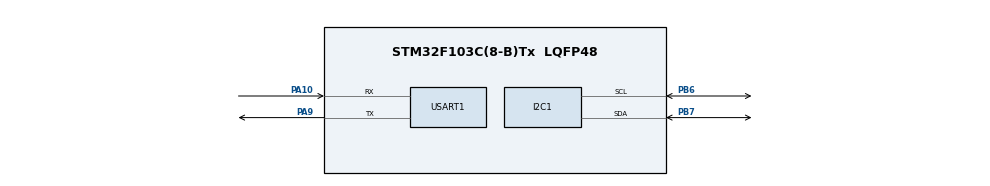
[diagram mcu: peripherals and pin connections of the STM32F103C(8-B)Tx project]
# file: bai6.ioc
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Mcu.Family=STM32F1
Mcu.Name=STM32F103C(8-B)Tx
Mcu.Package=LQFP48
NVIC.PriorityGroup=NVIC_PRIORITYGROUP_4
PA10.Mode=Asynchronous
PA10.Signal=USART1_RX
PA13.Mode=Serial_Wire
PA13.Signal=SYS_JTMS-SWDIO
PA14.Mode=Serial_Wire
PA14.Signal=SYS_JTCK-SWCLK
PA9.Mode=Asynchronous
PA9.Signal=USART1_TX
PB6.Mode=I2C
PB6.Signal=I2C1_SCL
PB7.Mode=I2C
PB7.Signal=I2C1_SDA
ProjectManager.HeapSize=0x200
ProjectManager.StackSize=0x400
ProjectManager.TargetToolchain=MDK-ARM V5
RCC.APB1Freq_Value=8000000
RCC.APB2Freq_Value=8000000
USART1.VirtualMode=VM_ASYNC
board=custom

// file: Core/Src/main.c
/* USER CODE BEGIN Header */
/**
  ******************************************************************************
  * @file           : main.c
  * @brief          : Main program body
  ******************************************************************************
  * @attention
  *
  * <h2><center>&copy; Copyright (c) 2024 STMicroelectronics.
  * All rights reserved.</center></h2>
  *
  * This software component is licensed by ST under BSD 3-Clause license,
  * the "License"; You may not use this file except in compliance with the
  * License. You may obtain a copy of the License at:
  *                        opensource.org/licenses/BSD-3-Clause
  *
  ******************************************************************************
  */
/* USER CODE END Header */
#include "main.h"
#define BH1750_ADDRESS 0x23 << 1  // Ð?a ch? BH1750 (m?c d?nh ADDR = LOW)
#define BH1750_POWER_ON 0x01
#define BH1750_RESET 0x07
#define BH1750_ONE_TIME_HRES_MODE    0x20

I2C_HandleTypeDef hi2c1;

UART_HandleTypeDef huart1;

void SystemClock_Config(void);
static void MX_GPIO_Init(void);
static void MX_I2C1_Init(void);
static void MX_USART1_UART_Init(void);
/* USER CODE BEGIN PFP */
void BH1750_Init(void);
float BH1750_ReadLightLevel(void);
void Transmit_Light_Level(float lux);
/* USER CODE END PFP */

int main(void)
{

  /* MCU Configuration--------------------------------------------------------*/

  /* Reset of all peripherals, Initializes the Flash interface and the Systick. */
  HAL_Init();

  /* Configure the system clock */
  SystemClock_Config();

  /* Initialize all configured peripherals */
  MX_GPIO_Init();
  MX_I2C1_Init();
  MX_USART1_UART_Init();
  /* USER CODE BEGIN 2 */
	BH1750_Init();
  /* USER CODE END 2 */

  /* Infinite loop */
  while (1)
  {
		  float lux = BH1750_ReadLightLevel();

    Transmit_Light_Level(lux);

    HAL_Delay(1000);
  }
}

void SystemClock_Config(void)
{
  RCC_OscInitTypeDef RCC_OscInitStruct = {0};
  RCC_ClkInitTypeDef RCC_ClkInitStruct = {0};

  /** Initializes the RCC Oscillators according to the specified parameters
  * in the RCC_OscInitTypeDef structure.
  */
  RCC_OscInitStruct.OscillatorType = RCC_OSCILLATORTYPE_HSI;
  RCC_OscInitStruct.HSIState = RCC_HSI_ON;
  RCC_OscInitStruct.HSICalibrationValue = RCC_HSICALIBRATION_DEFAULT;
  RCC_OscInitStruct.PLL.PLLState = RCC_PLL_NONE;
  if (HAL_RCC_OscConfig(&RCC_OscInitStruct) != HAL_OK)
  {
    Error_Handler();
  }
  /** Initializes the CPU, AHB and APB buses clocks
  */
  RCC_ClkInitStruct.ClockType = RCC_CLOCKTYPE_HCLK|RCC_CLOCKTYPE_SYSCLK
                              |RCC_CLOCKTYPE_PCLK1|RCC_CLOCKTYPE_PCLK2;
  RCC_ClkInitStruct.SYSCLKSource = RCC_SYSCLKSOURCE_HSI;
  RCC_ClkInitStruct.AHBCLKDivider = RCC_SYSCLK_DIV1;
  RCC_ClkInitStruct.APB1CLKDivider = RCC_HCLK_DIV1;
  RCC_ClkInitStruct.APB2CLKDivider = RCC_HCLK_DIV1;

  if (HAL_RCC_ClockConfig(&RCC_ClkInitStruct, FLASH_LATENCY_0) != HAL_OK)
  {
    Error_Handler();
  }
}

static void MX_I2C1_Init(void)
{

  hi2c1.Instance = I2C1;
  hi2c1.Init.ClockSpeed = 100000;
  hi2c1.Init.DutyCycle = I2C_DUTYCYCLE_2;
  hi2c1.Init.OwnAddress1 = 0;
  hi2c1.Init.AddressingMode = I2C_ADDRESSINGMODE_7BIT;
  hi2c1.Init.DualAddressMode = I2C_DUALADDRESS_DISABLE;
  hi2c1.Init.OwnAddress2 = 0;
  hi2c1.Init.GeneralCallMode = I2C_GENERALCALL_DISABLE;
  hi2c1.Init.NoStretchMode = I2C_NOSTRETCH_DISABLE;
  if (HAL_I2C_Init(&hi2c1) != HAL_OK)
  {
    Error_Handler();
  }

}

static void MX_USART1_UART_Init(void)
{

  huart1.Instance = USART1;
  huart1.Init.BaudRate = 115200;
  huart1.Init.WordLength = UART_WORDLENGTH_8B;
  huart1.Init.StopBits = UART_STOPBITS_1;
  huart1.Init.Parity = UART_PARITY_NONE;
  huart1.Init.Mode = UART_MODE_TX_RX;
  huart1.Init.HwFlowCtl = UART_HWCONTROL_NONE;
  huart1.Init.OverSampling = UART_OVERSAMPLING_16;
  if (HAL_UART_Init(&huart1) != HAL_OK)
  {
    Error_Handler();
  }

}

static void MX_GPIO_Init(void)
{

  /* GPIO Ports Clock Enable */
  __HAL_RCC_GPIOA_CLK_ENABLE();
  __HAL_RCC_GPIOB_CLK_ENABLE();

}

/* USER CODE BEGIN 4 */
void BH1750_Init(void)
{
    // B?t ngu?n cho BH1750
    uint8_t power_on_cmd = BH1750_POWER_ON;
    HAL_I2C_Master_Transmit(&hi2c1, BH1750_ADDRESS, &power_on_cmd, 1, HAL_MAX_DELAY);
}

float BH1750_ReadLightLevel(void)
{
    uint8_t mode_cmd = BH1750_ONE_TIME_HRES_MODE;
    uint8_t buffer[2];

    // G?i l?nh do m?t l?n v?i d? phân gi?i cao
    HAL_I2C_Master_Transmit(&hi2c1, BH1750_ADDRESS, &mode_cmd, 1, HAL_MAX_DELAY);

    // Ð?i d? c?m bi?n th?c hi?n do (thu?ng m?t kho?ng 180ms)
    HAL_Delay(180);

    // Ð?c d? li?u ánh sáng t? c?m bi?n BH1750
    HAL_I2C_Master_Receive(&hi2c1, BH1750_ADDRESS, buffer, 2, HAL_MAX_DELAY);

    // Chuy?n d?i d? li?u t? 2 byte thành giá tr? cu?ng d? ánh sáng (lux)
    uint16_t raw_value = (buffer[0] << 8) | buffer[1];
    float lux = raw_value / 1.2;  // Theo tài li?u c?a BH1750, chia cho 1.2 d? ra giá tr? lux
    return lux;
}

void Transmit_Light_Level(float lux)
{
    char uart_buffer[50];
    snprintf(uart_buffer, sizeof(uart_buffer), "Light Level: %.2f lux\r\n", lux);
    HAL_UART_Transmit(&huart1, (uint8_t*)uart_buffer, strlen(uart_buffer), HAL_MAX_DELAY);
}
/* USER CODE END 4 */

void Error_Handler(void)
{
}

/************************ (C) COPYRIGHT STMicroelectronics *****END OF FILE****/
